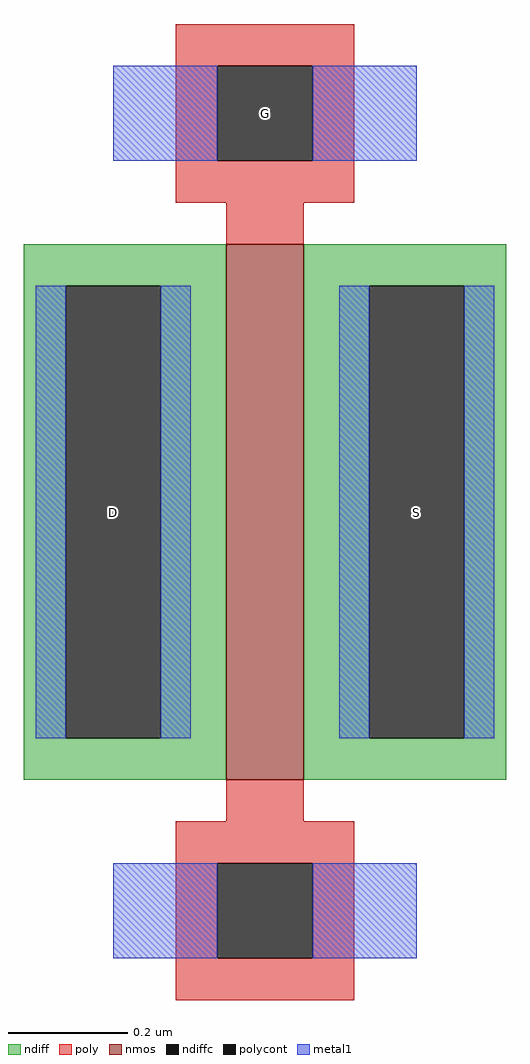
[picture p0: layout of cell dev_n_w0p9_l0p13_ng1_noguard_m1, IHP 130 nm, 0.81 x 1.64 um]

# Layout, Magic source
magic
tech ihp-sg13cmos5l
magscale 1 2
<< nmos >>
rect -13 -90 13 90
<< ndiff >>
rect -81 76 -13 90
rect -81 -76 -67 76
rect -35 -76 -13 76
rect -81 -90 -13 -76
rect 13 76 81 90
rect 13 -76 35 76
rect 67 -76 81 76
rect 13 -90 81 -76
<< ndiffc >>
rect -67 -76 -35 76
rect 35 -76 67 76
<< poly >>
rect -30 150 30 164
rect -30 118 -16 150
rect 16 118 30 150
rect -30 104 30 118
rect -13 90 13 104
rect -13 -104 13 -90
rect -30 -118 30 -104
rect -30 -150 -16 -118
rect 16 -150 30 -118
rect -30 -164 30 -150
<< polycont >>
rect -16 118 16 150
rect -16 -150 16 -118
<< metal1 >>
rect -51 118 -16 150
rect 16 118 51 150
rect -77 -76 -67 76
rect -35 -76 -25 76
rect 25 -76 35 76
rect 67 -76 77 76
rect -51 -150 -16 -118
rect 16 -150 51 -118
<< labels >>
rlabel ndiffc -51 0 -51 0 0 D
port 1 nsew
rlabel ndiffc 51 0 51 0 0 S
port 2 nsew
rlabel polycont 0 134 0 134 0 G
port 3 nsew
<< properties >>
string gencell sg13_lv_nmos
string library sg13cmos5l
string parameters w 0.9 l 0.13 m 1 ng 1 diffcov 100 polycov 100 guard 0 glc 1 grc 1 gtc 1 gbc 1 tbcov 100 rlcov 100 topc 1 botc 1 poverlap 0 doverlap 1 lmin 0.13 wmin 0.15 class mosfet compatible {sg13_lv_nmos sg13_hv_nmos} full_metal 1 conn_gates 1 gate_ring 0 doports 1 viasrc 0 viadrn 0 viagate 0 ccols 1 viagb 0 viagr 0 viagl 0 viagt 0
<< end >>
